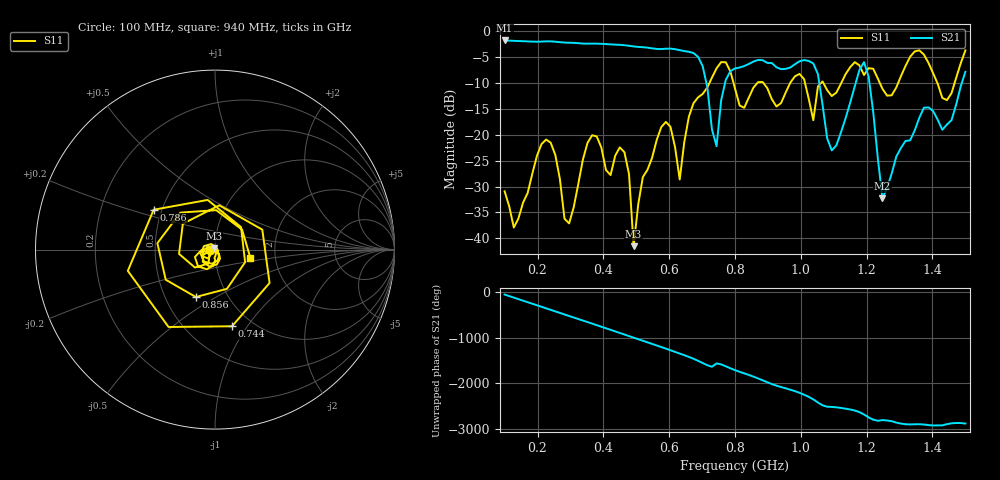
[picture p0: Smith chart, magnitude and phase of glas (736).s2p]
! NanoVNA-App
! Date: 2025-09-25 16:01:12
! Start: 100MHz Stop: 1,5GHz Points: 101
! S-Parameter data: F S11 S21 S12 S22
# Hz S RI R 50
!  Frequency  S11_Real  S11_Imag  S21_Real  S21_Imag  S12_Real  S12_Imag  S22_Real  S22_Imag
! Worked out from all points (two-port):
!   101 points, 100 MHz to 1.5 GHz, reference 50 ohm
!   highest |S21| = -1.80 dB at 100 MHz (marker M1); lowest = -32.2 dB at 1.248 GHz (marker M2)
!   |S21| within 3 dB of the highest: start of sweep to 684.7 MHz
!   lowest |S11| = -41.5 dB at 492 MHz (marker M3), VSWR 1.02, Z = 49.5 + j0.642 ohm
!   |S11| at or under -10 dB: start of sweep to 722.4 MHz; 795.4 MHz to 868 MHz (72.56 MHz wide, 8.72 % of centre); 886.2 MHz to 967.7 MHz (81.48 MHz wide, 8.79 % of centre) (the widest 3 of 7)
!   S12 and S22 are empty: the file has one direction only
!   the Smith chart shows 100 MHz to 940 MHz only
!   S11 on the Smith chart (normalised r, x): 100 MHz: 0.94, -0.01; 744 MHz: 0.81, -0.85; 786 MHz: 0.45, +0.24; 856 MHz: 0.71, -0.41; 940 MHz: 1.48, -0.14
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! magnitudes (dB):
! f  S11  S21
! 100 MHz  -30.9  -1.8
! 128 MHz  -37.9  -1.9
! 226 MHz  -20.9  -2.0
! 296 MHz  -37.1  -2.2
! 338 MHz  -24.8  -2.4
! 464 MHz  -23.4  -2.7
! 492 MHz  -41.5  -3.0
! 576 MHz  -18.5  -3.5
! 632 MHz  -28.6  -3.7
! 702 MHz  -12.1  -6.8
! 744 MHz  -7.2  -22.2
! 786 MHz  -7.8  -7.7
! 800 MHz  -11.1  -7.2
! 856 MHz  -10.9  -5.9
! 940 MHz  -13.9  -7.3
! 996 MHz  -8.3  -5.8
! 1.038 GHz  -17.2  -6.3
! 1.094 GHz  -12.5  -23.0
! 1.192 GHz  -8.5  -6.0
! 1.248 GHz  -11.1  -32.2
! 1.276 GHz  -12.4  -27.5
! 1.5 GHz  -3.7  -7.9
